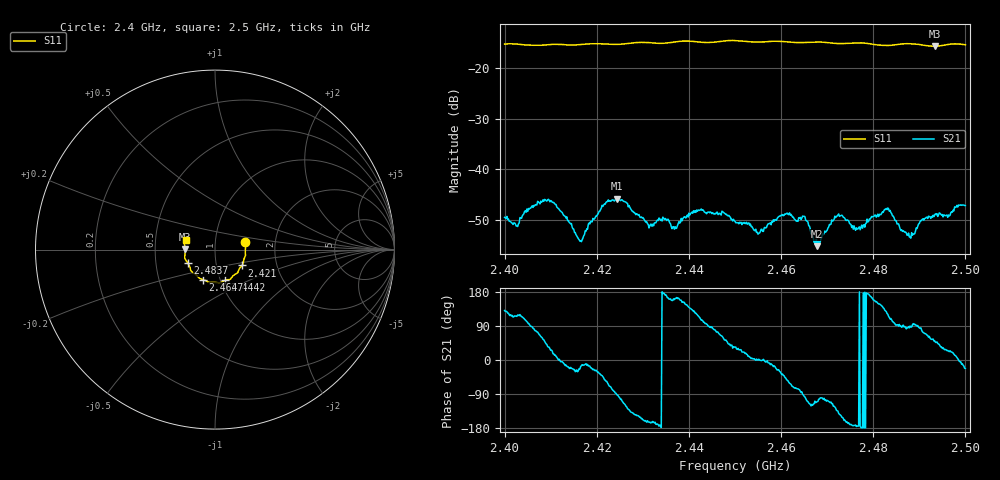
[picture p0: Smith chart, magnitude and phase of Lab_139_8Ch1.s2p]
# Hz S RI R 50
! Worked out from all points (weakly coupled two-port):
!   601 points, 2.4 GHz to 2.5 GHz, reference 50 ohm
!   highest |S21| = -45.87 dB at 2.4243 GHz (marker M1); lowest = -55.3 dB at 2.4678 GHz (marker M2)
!   lowest |S11| = -15.6 dB at 2.4933 GHz (marker M3), VSWR 1.40, Z = 35.8 + j0.0485 ohm
!   |S11| at or under -10 dB: start of sweep to end of sweep
!   S12 and S22 are empty: the file has one direction only
!   S11 on the Smith chart (normalised r, x): 2.4 GHz: 1.40, +0.12; 2.421 GHz: 1.33, -0.24; 2.4442 GHz: 1.05, -0.37; 2.4647 GHz: 0.83, -0.29; 2.4837 GHz: 0.73, -0.11; 2.5 GHz: 0.72, +0.08
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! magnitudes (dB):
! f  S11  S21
! 2.4 GHz  -15.2  -49.6
! 2.4027 GHz  -15.2  -51.3
! 2.4098 GHz  -15.3  -46.5
! 2.4167 GHz  -15.3  -54.4
! 2.421 GHz  -15.2  -47.7
! 2.4243 GHz  -15.3  -45.9
! 2.4315 GHz  -14.9  -51.3
! 2.4333 GHz  -15.1  -50.2
! 2.4368 GHz  -14.8  -51.9
! 2.4442 GHz  -14.9  -48.5
! 2.45 GHz  -14.5  -50.3
! 2.4552 GHz  -14.8  -52.7
! 2.4647 GHz  -14.9  -49.3
! 2.4667 GHz  -14.8  -52.4
! 2.4678 GHz  -14.8  -55.3
! 2.4722 GHz  -15.1  -49.3
! 2.4767 GHz  -15.0  -51.9
! 2.4833 GHz  -15.5  -47.9
! 2.4837 GHz  -15.5  -48.2
! 2.4877 GHz  -15.1  -52.7
! 2.4933 GHz  -15.6  -49.1
! 2.5 GHz  -15.3  -47.2
